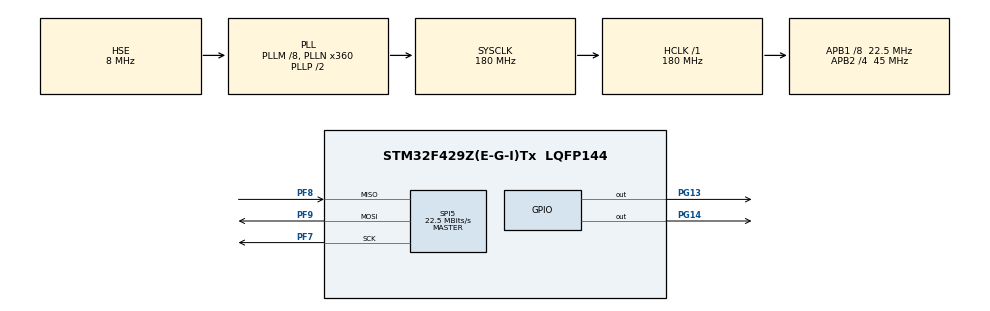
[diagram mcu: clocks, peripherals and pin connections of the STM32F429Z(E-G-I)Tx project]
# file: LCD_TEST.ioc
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Mcu.Family=STM32F4
Mcu.Name=STM32F429Z(E-G-I)Tx
Mcu.Package=LQFP144
NVIC.PriorityGroup=NVIC_PRIORITYGROUP_0
PF7.Mode=Full_Duplex_Master
PF7.Signal=SPI5_SCK
PF8.Mode=Full_Duplex_Master
PF8.Signal=SPI5_MISO
PF9.Mode=Full_Duplex_Master
PF9.Signal=SPI5_MOSI
PG13.Signal=GPIO_Output
PG14.Signal=GPIO_Output
PH0/OSC_IN.Mode=HSE-External-Oscillator
PH0/OSC_IN.Signal=RCC_OSC_IN
PH1/OSC_OUT.Mode=HSE-External-Oscillator
PH1/OSC_OUT.Signal=RCC_OSC_OUT
ProjectManager.HeapSize=0x2000
ProjectManager.StackSize=0x4000
ProjectManager.TargetToolchain=MDK-ARM V5
RCC.48MHZClocksFreq_Value=51428571.428571425
RCC.AHBFreq_Value=180000000
RCC.APB1CLKDivider=RCC_HCLK_DIV8
RCC.APB1Freq_Value=22500000
RCC.APB1TimFreq_Value=45000000
RCC.APB2CLKDivider=RCC_HCLK_DIV4
RCC.APB2Freq_Value=45000000
RCC.APB2TimFreq_Value=90000000
RCC.CortexFreq_Value=180000000
RCC.HCLKFreq_Value=180000000
RCC.HSE_VALUE=8000000
RCC.HSI_VALUE=16000000
RCC.LSE_VALUE=32768
RCC.PLLM=8
RCC.PLLN=360
RCC.PLLQ=7
RCC.PLLSAIN=432
RCC.PLLSourceVirtual=RCC_PLLSOURCE_HSE
RCC.SYSCLKFreq_VALUE=180000000
RCC.SYSCLKSource=RCC_SYSCLKSOURCE_PLLCLK
RCC.VCOOutputFreq_Value=360000000
SPI5.CalculateBaudRate=22.5 MBits/s
SPI5.Direction=SPI_DIRECTION_2LINES
SPI5.Mode=SPI_MODE_MASTER
SPI5.VirtualType=VM_MASTER
board=STM32F429I-DISC1

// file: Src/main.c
/**
  ******************************************************************************
  * File Name          : main.c
  * Description        : Main program body
  ******************************************************************************
  ** This notice applies to any and all portions of this file
  * that are not between comment pairs USER CODE BEGIN and
  * USER CODE END. Other portions of this file, whether
  * inserted by the user or by software development tools
  * are owned by their respective copyright owners.
  *
  * COPYRIGHT(c) 2017 STMicroelectronics
  *
  * Redistribution and use in source and binary forms, with or without modification,
  * are permitted provided that the following conditions are met:
  *   1. Redistributions of source code must retain the above copyright notice,
  *      this list of conditions and the following disclaimer.
  *   2. Redistributions in binary form must reproduce the above copyright notice,
  *      this list of conditions and the following disclaimer in the documentation
  *      and/or other materials provided with the distribution.
  *   3. Neither the name of STMicroelectronics nor the names of its contributors
  *      may be used to endorse or promote products derived from this software
  *      without specific prior written permission.
  *
  * THIS SOFTWARE IS PROVIDED BY THE COPYRIGHT HOLDERS AND CONTRIBUTORS "AS IS"
  * AND ANY EXPRESS OR IMPLIED WARRANTIES, INCLUDING, BUT NOT LIMITED TO, THE
  * IMPLIED WARRANTIES OF MERCHANTABILITY AND FITNESS FOR A PARTICULAR PURPOSE ARE
  * DISCLAIMED. IN NO EVENT SHALL THE COPYRIGHT HOLDER OR CONTRIBUTORS BE LIABLE
  * FOR ANY DIRECT, INDIRECT, INCIDENTAL, SPECIAL, EXEMPLARY, OR CONSEQUENTIAL
  * DAMAGES (INCLUDING, BUT NOT LIMITED TO, PROCUREMENT OF SUBSTITUTE GOODS OR
  * SERVICES; LOSS OF USE, DATA, OR PROFITS; OR BUSINESS INTERRUPTION) HOWEVER
  * CAUSED AND ON ANY THEORY OF LIABILITY, WHETHER IN CONTRACT, STRICT LIABILITY,
  * OR TORT (INCLUDING NEGLIGENCE OR OTHERWISE) ARISING IN ANY WAY OUT OF THE USE
  * OF THIS SOFTWARE, EVEN IF ADVISED OF THE POSSIBILITY OF SUCH DAMAGE.
  *
  ******************************************************************************
  */
#include "main.h"
#include "stm32f4xx_hal.h"

/* USER CODE BEGIN Includes */
#include "stm32f429i_discovery.h"
#include "ili9341.h"
#include "string.h"
#include "stlogo.h"
#include "disp.h"

/* USER CODE END Includes */

SPI_HandleTypeDef hspi5;

/* USER CODE BEGIN PV */

/* Private variables ---------------------------------------------------------*/

/* USER CODE END PV */

void SystemClock_Config(void);
static void MX_GPIO_Init(void);
static void MX_SPI5_Init(void);

/* USER CODE BEGIN PFP */
/* Private function prototypes -----------------------------------------------*/

/* USER CODE END PFP */

/* USER CODE BEGIN 0 */
uint8_t cnt,xpos=0,ypos=120;
char mx[20];
/* USER CODE END 0 */

int main(void)
{

  /* MCU Configuration----------------------------------------------------------*/

  /* Reset of all peripherals, Initializes the Flash interface and the Systick. */
  HAL_Init();

  /* Configure the system clock */
  SystemClock_Config();

  /* Initialize all configured peripherals */
  MX_GPIO_Init();
  MX_SPI5_Init();

  /* USER CODE BEGIN 2 */
   disp_init();
	 disp_fill(0,0,240,320,WHITE);
/* for(int i=0;i<=320;i++)
	 {
		for(int j=0;j<=240;j++)
		 {
		 drawPixel(j,i,WHITE);
		}
	 }*/
	 /*
	 drawCircle(120,300,20,YELLOW);
	 drawCircle(120,20,20,GREEN);
	 drawCircle(120,160,20,RED);
	 drawCircle(220,160,20,BLUE);
	 drawCircle(20,160,20,WHITE);*/
   Lcd_Rotate(TM_ILI9341_Orientation_Portrait_1);
   drawLine(0,280,240,280, GREEN);
	 //displayChar(10,280,'B',&Font24);
	 SetTextColor(BLACK);
	 SetBackColor(WHITE);
   displayStringAt(0,300,(uint8_t *)"Copyright (c) Vecmocon Tech. 2017",LEFT_MODE,&Font12);
   displayStringAt(10,100,(uint8_t *)"Altamash Abdul Rahim",LEFT_MODE,&Font12);
	 //BSP_LCD_Init();
	 //BSP_LCD_LayerDefaultInit(LCD_BACKGROUND_LAYER, LCD_FRAME_BUFFER);
	 //BSP_LCD_LayerDefaultInit(LCD_FOREGROUND_LAYER, LCD_FRAME_BUFFER);
	 //BSP_LCD_SelectLayer(LCD_FOREGROUND_LAYER);
	 //BSP_LCD_DisplayOn();
	 //BSP_LCD_Clear(LCD_COLOR_WHITE);

  /* USER CODE END 2 */

  /* Infinite loop */
  /* USER CODE BEGIN WHILE */
  while (1)
  {
		HAL_Delay(100);
		/*
		drawCircle(20,160,20,RED);
    HAL_Delay(500);
    drawCircle(20,160,20,WHITE);
		HAL_Delay(500);*/

	  sprintf(mx,"Speed: %d",cnt);
		displayStringAt(0,10,(uint8_t *)&mx,LEFT_MODE,&Font24);
		/*BSP_LCD_SetFont(&Font24);
		BSP_LCD_SetTextColor(LCD_COLOR_BLACK);
		BSP_LCD_DisplayStringAtLine(1,(uint8_t *)&mx);
		BSP_LCD_DisplayStringAtLine(3,(uint8_t *)"Battery: 100%");

		BSP_LCD_SetTextColor(LCD_COLOR_WHITE);
		BSP_LCD_FillCircle(xpos-5,ypos,5);
		BSP_LCD_SetTextColor(LCD_COLOR_BLACK);
		BSP_LCD_FillCircle(xpos,ypos,5);
		//BSP_LCD_FillCircle(165,160,15);
		//BSP_LCD_FillCircle(120,240,15);
		//BSP_LCD_DrawLine(75,160,120,240);
		//BSP_LCD_DrawLine(165,160,120,240);
		BSP_LCD_DrawBitmap((BSP_LCD_GetXSize()-40)/2, BSP_LCD_GetYSize()/2,(uint8_t *)stlogo);

		BSP_LCD_SetTextColor(LCD_COLOR_BLACK);
		BSP_LCD_DrawHLine(0,BSP_LCD_GetYSize()-40,BSP_LCD_GetXSize());
		BSP_LCD_SetFont(&Font12);
		BSP_LCD_DisplayStringAt(0, BSP_LCD_GetYSize()- 20, (uint8_t*)"Copyright (c) Vecmocon Tech. 2017", CENTER_MODE);
		HAL_Delay(300);
		cnt++;xpos+=5;
		if(xpos>=240){xpos=5;BSP_LCD_SetTextColor(LCD_COLOR_WHITE);BSP_LCD_FillCircle(235,ypos,5);}*/
		cnt++;
  /* USER CODE END WHILE */

  }

}

/** System Clock Configuration
*/
void SystemClock_Config(void)
{

  RCC_OscInitTypeDef RCC_OscInitStruct;
  RCC_ClkInitTypeDef RCC_ClkInitStruct;

    /**Configure the main internal regulator output voltage
    */
  __HAL_RCC_PWR_CLK_ENABLE();

  __HAL_PWR_VOLTAGESCALING_CONFIG(PWR_REGULATOR_VOLTAGE_SCALE1);

    /**Initializes the CPU, AHB and APB busses clocks
    */
  RCC_OscInitStruct.OscillatorType = RCC_OSCILLATORTYPE_HSE;
  RCC_OscInitStruct.HSEState = RCC_HSE_ON;
  RCC_OscInitStruct.PLL.PLLState = RCC_PLL_ON;
  RCC_OscInitStruct.PLL.PLLSource = RCC_PLLSOURCE_HSE;
  RCC_OscInitStruct.PLL.PLLM = 8;
  RCC_OscInitStruct.PLL.PLLN = 360;
  RCC_OscInitStruct.PLL.PLLP = RCC_PLLP_DIV2;
  RCC_OscInitStruct.PLL.PLLQ = 7;
  if (HAL_RCC_OscConfig(&RCC_OscInitStruct) != HAL_OK)
  {
    _Error_Handler(__FILE__, __LINE__);
  }

    /**Activate the Over-Drive mode
    */
  if (HAL_PWREx_EnableOverDrive() != HAL_OK)
  {
    _Error_Handler(__FILE__, __LINE__);
  }

    /**Initializes the CPU, AHB and APB busses clocks
    */
  RCC_ClkInitStruct.ClockType = RCC_CLOCKTYPE_HCLK|RCC_CLOCKTYPE_SYSCLK
                              |RCC_CLOCKTYPE_PCLK1|RCC_CLOCKTYPE_PCLK2;
  RCC_ClkInitStruct.SYSCLKSource = RCC_SYSCLKSOURCE_PLLCLK;
  RCC_ClkInitStruct.AHBCLKDivider = RCC_SYSCLK_DIV1;
  RCC_ClkInitStruct.APB1CLKDivider = RCC_HCLK_DIV8;
  RCC_ClkInitStruct.APB2CLKDivider = RCC_HCLK_DIV4;

  if (HAL_RCC_ClockConfig(&RCC_ClkInitStruct, FLASH_LATENCY_5) != HAL_OK)
  {
    _Error_Handler(__FILE__, __LINE__);
  }

    /**Configure the Systick interrupt time
    */
  HAL_SYSTICK_Config(HAL_RCC_GetHCLKFreq()/1000);

    /**Configure the Systick
    */
  HAL_SYSTICK_CLKSourceConfig(SYSTICK_CLKSOURCE_HCLK);

  /* SysTick_IRQn interrupt configuration */
  HAL_NVIC_SetPriority(SysTick_IRQn, 0, 0);
}

/* SPI5 init function */
static void MX_SPI5_Init(void)
{

  hspi5.Instance = SPI5;
  hspi5.Init.Mode = SPI_MODE_MASTER;
  hspi5.Init.Direction = SPI_DIRECTION_2LINES;
  hspi5.Init.DataSize = SPI_DATASIZE_8BIT;
  hspi5.Init.CLKPolarity = SPI_POLARITY_LOW;
  hspi5.Init.CLKPhase = SPI_PHASE_1EDGE;
  hspi5.Init.NSS = SPI_NSS_SOFT;
  hspi5.Init.BaudRatePrescaler = SPI_BAUDRATEPRESCALER_2;
  hspi5.Init.FirstBit = SPI_FIRSTBIT_MSB;
  hspi5.Init.TIMode = SPI_TIMODE_DISABLE;
  hspi5.Init.CRCCalculation = SPI_CRCCALCULATION_DISABLE;
  hspi5.Init.CRCPolynomial = 10;
  if (HAL_SPI_Init(&hspi5) != HAL_OK)
  {
    _Error_Handler(__FILE__, __LINE__);
  }

}

/** Configure pins as
        * Analog
        * Input
        * Output
        * EVENT_OUT
        * EXTI
*/
static void MX_GPIO_Init(void)
{

  GPIO_InitTypeDef GPIO_InitStruct;

  /* GPIO Ports Clock Enable */
  __HAL_RCC_GPIOF_CLK_ENABLE();
  __HAL_RCC_GPIOH_CLK_ENABLE();
  __HAL_RCC_GPIOG_CLK_ENABLE();

  /*Configure GPIO pin Output Level */
  HAL_GPIO_WritePin(GPIOG, GPIO_PIN_13|GPIO_PIN_14, GPIO_PIN_RESET);

  /*Configure GPIO pins : PG13 PG14 */
  GPIO_InitStruct.Pin = GPIO_PIN_13|GPIO_PIN_14;
  GPIO_InitStruct.Mode = GPIO_MODE_OUTPUT_PP;
  GPIO_InitStruct.Pull = GPIO_NOPULL;
  GPIO_InitStruct.Speed = GPIO_SPEED_FREQ_LOW;
  HAL_GPIO_Init(GPIOG, &GPIO_InitStruct);

}

void _Error_Handler(char * file, int line)
{
  while(1)
  {
  }
}

/************************ (C) COPYRIGHT STMicroelectronics *****END OF FILE****/
